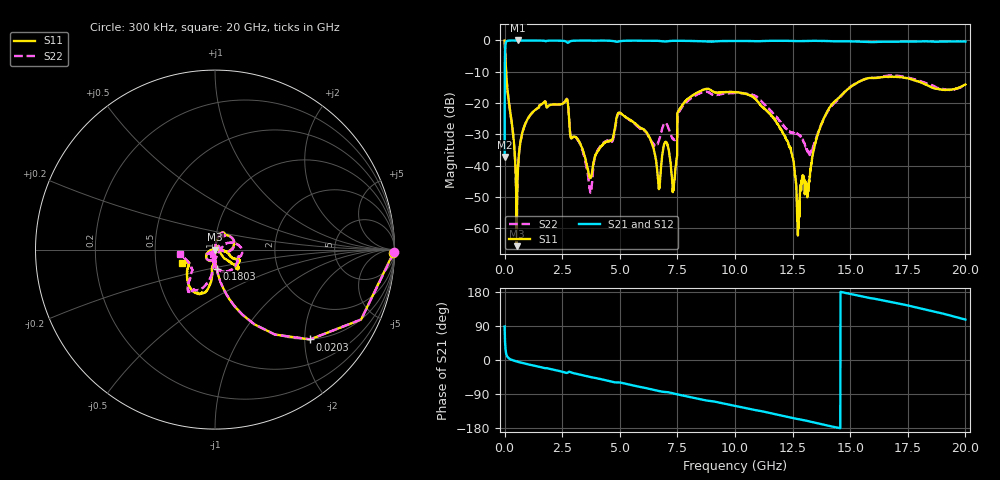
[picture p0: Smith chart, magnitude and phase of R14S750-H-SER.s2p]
!{R14S750}
!Johanson Technology Inc.
!www.johansontechnology.com
!Test Board Conditions:
!Substrate Type  RO4350B
!Substrate Thickness  20 mil
!Substrate Dk  3.66
!TL Type: GCPW
!TL Trace Width  36 mil
!TL Gap  12 mil
!Electrode orientation  Horizontal
!DUT TOPOLOGY	SERIES
!Mounting Pad LxW  26x36 mil
! Created Wed Nov 25 17:33:21 2020
! 2 Port Network Data from SP1.SP block
! freq  magS11  angS11  magS21  angS21  magS12  angS12  magS22  angS22
# khz S ma R 50
! decimated to every 10th point (10 MHz spacing) of the original 1 MHz Johanson file; values unchanged
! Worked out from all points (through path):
!   2001 points, 300 kHz to 20 GHz, reference 50 ohm
!   highest |S21| = 0.00 dB at 580.3 MHz (marker M1); lowest = -37.2 dB at 300 kHz (marker M2)
!   group delay of S21, straight-line fit = 35 ps
!   lowest |S11| = -65.7 dB at 520.3 MHz (marker M3), VSWR 1.00, Z = 50 - j0.0519 ohm
!   |S11| at or under -10 dB: 64.12 MHz to end of sweep
!   |S22| runs from -62.1 to 0.0 dB; largest |S21 - S12| = 0.017
!   S11 on the Smith chart (normalised r, x): 300 kHz: open; 20.3 MHz: 0.99, -2.12; 180.3 MHz: 0.99, -0.21; 20 GHz: 0.68, -0.10
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300  0.9937 -1.1  0.01383 88.4  0.01379 89.1  0.9972 -0.9
20300  0.7286 -43.4  0.683 46.7  0.6842 46.6  0.7291 -43.3
180300  0.1065 -85.3  0.9936 4.7  0.9937 4.7  0.1076 -85.2
520300  0.0005196 -88.5  0.9989 -3.9  0.9996 -3.9  0.0007861 -128.4
580300  0.009215 83.3  0.9999 -5.0  0.9992 -5.0  0.008836 88.3
870300  0.0439 79.9  0.9989 -9.3  0.998 -9.3  0.04365 81.2
1680300  0.1005 68.8  0.9923 -20.5  0.9922 -20.5  0.1003 67.9
3340300  0.02019 44.0  0.996 -39.8  0.9959 -39.7  0.01918 42.3
3730300  0.006346 -14.3  0.9938 -45.0  0.9939 -45.0  0.003758 -16.7
5030300  0.0693 -130.6  0.9749 -59.6  0.9745 -59.6  0.06833 -133.7
6670300  0.005749 -157.7  0.9849 -81.5  0.9847 -81.5  0.02383 -86.7
7000300  0.02405 -114.3  0.9636 -84.4  0.964 -84.4  0.04794 -95.0
7350300  0.005115 82.3  0.9877 -88.4  0.9873 -88.5  0.02627 -81.8
7600300  0.0806 -41.3  0.9873 -92.0  0.9876 -91.9  0.07508 28.3
7850300  0.1083 -39.8  0.9839 -95.2  0.9851 -95.3  0.1024 21.9
1.00003e7  0.1497 -23.8  0.98 -121.1  0.98 -121.1  0.1449 -43.1
1.20803e7  0.03354 1.3  0.9853 -147.4  0.989 -147.3  0.04501 -117.4
1.27503e7  0.0009936 145.8  0.9747 -156.1  0.9758 -156.1  0.03143 -150.0
1.33403e7  0.01276 -99.6  0.9848 -163.6  0.986 -163.5  0.01772 -116.0
1.42803e7  0.1022 -99.1  0.9695 -176.4  0.9721 -176.5  0.09719 -95.0
1.66703e7  0.2607 -111.8  0.9554 154.2  0.9482 154.0  0.276 -121.0
2e7  0.1984 -158.3  0.9596 106.7  0.9592 106.9  0.1961 -172.9
